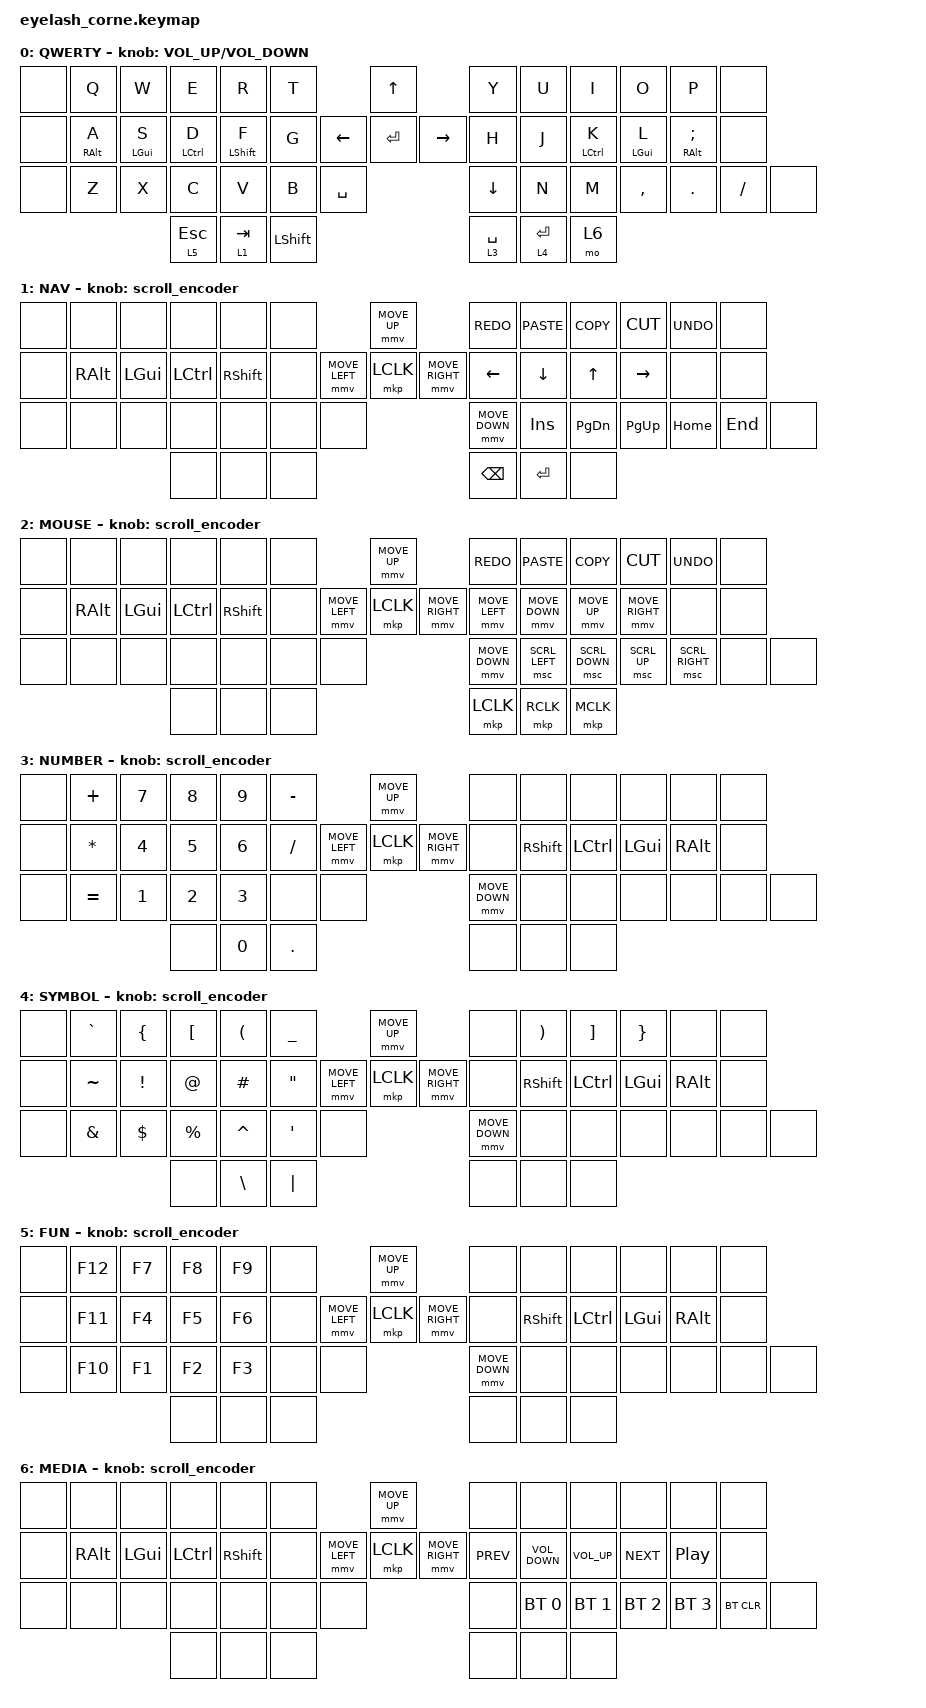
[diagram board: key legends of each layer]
#define ZMK_POINTING_DEFAULT_MOVE_VAL 1200  // 600
#define ZMK_POINTING_DEFAULT_SCRL_VAL 10   // 10

#include <input/processors.dtsi>
#include <zephyr/dt-bindings/input/input-event-codes.h>
#include <behaviors.dtsi>
#include <dt-bindings/zmk/bt.h>
#include <dt-bindings/zmk/ext_power.h>
#include <dt-bindings/zmk/keys.h>
#include <dt-bindings/zmk/outputs.h>
#include <dt-bindings/zmk/pointing.h>
#include <dt-bindings/zmk/rgb.h>


&mmv_input_listener { input-processors = <&zip_xy_scaler 2 1>; };

&msc_input_listener { input-processors = <&zip_scroll_scaler 2 1>; };

&msc {
    x-input-code = <INPUT_REL_HWHEEL>;
    y-input-code = <INPUT_REL_WHEEL>;
    time-to-max-speed-ms = <300>;
    acceleration-exponent = <0>;
};

&mmv {
    time-to-max-speed-ms = <500>;
    acceleration-exponent = <1>;
    trigger-period-ms = <16>;
};


/ {
    behaviors {
        td0: td0 {
            compatible = "zmk,behavior-tap-dance";
            display-name = "Shift/Caps Lock Tap Dance";
            #binding-cells = <0>;
            bindings = <&kp RSHFT>, <&kp CAPS>;
        };
        lt: layer_tap {
            compatible = "zmk,behavior-hold-tap";
            #binding-cells = <2>;
            flavor = "hold-preferred";
            tapping-term-ms = <200>;
            quick-tap-ms = <175>;
            bindings = <&mo>, <&kp>;
            display-name = "Layer-Tap";
            hold-while-undecided;
        };
        hml: home_row_mod_left {
            compatible = "zmk,behavior-hold-tap";
            #binding-cells = <2>;
            flavor = "balanced";
            require-prior-idle-ms = <150>;
            tapping-term-ms = <280>;
            quick-tap-ms = <175>;
            bindings = <&kp>, <&kp>;
            hold-trigger-key-positions = <Y U I O P H K L SEMI N M COMMA DOT FSLH SPACE ENTER LCLK RCLK MCLK TAB>; // List of keys on the right side of the keyboard
            hold-trigger-on-release;
        };
        hmr: home_row_mod_right {
            compatible = "zmk,behavior-hold-tap";
            #binding-cells = <2>;
            flavor = "balanced";
            require-prior-idle-ms = <150>;
            tapping-term-ms = <280>;
            quick-tap-ms = <175>;
            bindings = <&kp>, <&kp>;
            hold-trigger-key-positions = <Q W E R T A S D F G Z X C V B TAB BSPC N0 DOT BSLH PIPE>; // List of keys on the left side of the keyboard
            hold-trigger-on-release;
        };
    };

    rgb_encoder: rgb_encoder {
        compatible = "zmk,behavior-sensor-rotate";
        #sensor-binding-cells = <0>;
        bindings = <&rgb_ug RGB_BRI>, <&rgb_ug RGB_BRD>;
    };

    scroll_encoder: scroll_encoder {
        compatible = "zmk,behavior-sensor-rotate";
        #sensor-binding-cells = <0>;
        bindings = <&msc SCRL_DOWN>, <&msc SCRL_UP>;
        tap-ms = <100>;
    };
    combos {
        compatible = "zmk,combos";
        combo_esc {
            timeout-ms = <40>;
            key-positions = <23 24>;
            bindings = <&kp ESC>;
            require-prior-idle-ms = <150>;
        };
        combo_shift {
            timeout-ms = <40>;
            key-positions = <17 23>;
            bindings = <&kp LEFT_SHIFT>;
            require-prior-idle-ms = <150>;
        };
    };

        
    keymap {
        compatible = "zmk,keymap";

        default_layer {
            display-name = "QWERTY";
            bindings = <
&none    &kp Q       &kp W      &kp E       &kp R            &kp T                              &kp UP                &kp Y        &kp U  &kp I      &kp O    &kp P     &none
&none    &hml RALT A   &hml LGUI S  &hml LCTRL D  &hml LSHIFT F &kp G                    &kp LEFT  &kp ENTER  &kp RIGHT  &kp H        &kp J  &hmr LCTRL K      &hmr LGUI L    &hmr RALT SEMI  &none 
&none    &kp Z       &kp X      &kp C       &kp V            &kp B       &kp SPACE              &kp DOWN              &kp N        &kp M  &kp COMMA  &kp DOT  &kp FSLH  &none
                             &lt 5 ESC  &lt 1 TAB   &kp LSHIFT                                    &lt 3 SPACE  &lt 4 ENTER  &mo 6
            >;
            sensor-bindings = <&inc_dec_kp C_VOLUME_UP C_VOLUME_DOWN>;
        };

        1_nav_layer {
            display-name = "NAV";
            bindings = <
&none  &none   &none    &none   &none        &none                                  &mmv MOVE_UP                     &kp K_REDO   &kp K_PASTE      &kp K_COPY      &kp K_CUT           &kp K_UNDO    &none
&none  &kp RALT   &kp LGUI    &kp LCTRL  &kp RSHFT  &none                  &mmv MOVE_LEFT  &mkp LCLK       &mmv MOVE_RIGHT  &kp LEFT     &kp DOWN         &kp UP          &kp RIGHT        &none  &none
&none  &none   &none    &none   &none        &none    &none                         &mmv MOVE_DOWN                   &kp INS         &kp PG_DN       &kp PG_UP        &kp HOME &kp END   &none
                                         &none        &none        &none                                        &kp BSPC          &kp ENTER         &none
            >;
            sensor-bindings = <&scroll_encoder>;
        };

        2_mouse_layer {
            display-name = "MOUSE";
            bindings = <
&none  &none   &none    &none   &none        &none                                  &mmv MOVE_UP                     &kp K_REDO         &kp K_PASTE      &kp K_COPY      &kp K_CUT           &kp K_UNDO &none
&none  &kp RALT   &kp LGUI    &kp LCTRL  &kp RSHFT  &none                  &mmv MOVE_LEFT  &mkp LCLK &mmv MOVE_RIGHT  &mmv MOVE_LEFT     &mmv MOVE_DOWN   &mmv MOVE_UP    &mmv MOVE_RIGHT     &none   &none
&none  &none   &none    &none   &none        &none    &none                        &mmv MOVE_DOWN                   &msc SCRL_LEFT     &msc SCRL_DOWN   &msc SCRL_UP    &msc SCRL_RIGHT     &none   &none
                                         &none        &none        &none                                          &mkp LCLK          &mkp RCLK        &mkp MCLK 
            >;
            sensor-bindings = <&scroll_encoder>;
        };

        3_number_layer {
            display-name = "NUMBER";
            bindings = <
&none  &kp PLUS   &kp N7      &kp N8    &kp N9   &kp MINUS                                  &mmv MOVE_UP                  &none        &none           &none        &none      &none     &none
&none  &kp ASTRK   &kp N4      &kp N5    &kp N6  &kp FSLH             &mmv MOVE_LEFT  &mkp LCLK       &mmv MOVE_RIGHT     &none        &kp RSHFT  &kp LCTRL    &kp LGUI   &kp RALT  &none 
&none  &kp EQUAL   &kp N1      &kp N2    &kp N3  &none       &none                            &mmv MOVE_DOWN                   &none        &none           &none  &none  &none   &none 
                                &none      &kp N0      &kp DOT                                                            &none        &none           &none
            >;
            sensor-bindings = <&scroll_encoder>;
        };

        4_symbol_layer {
            display-name = "SYMBOL";
            bindings = <
&none  &kp GRAVE   &kp LBRC     &kp LBKT   &kp LPAR  &kp UNDER                                   &mmv MOVE_UP                     &none        &kp RPAR      &kp RBKT          &kp RBRC      &none     &none
&none  &kp TILDE   &kp EXCL     &kp AT     &kp HASH  &kp DQT                 &mmv MOVE_LEFT  &mkp LCLK       &mmv MOVE_RIGHT    &none    &kp RSHFT  &kp LCTRL    &kp LGUI   &kp RALT  &none  
&none  &kp AMPS    &kp DLLR     &kp PRCNT  &kp CARET &kp SQT   &none                               &mmv MOVE_DOWN                  &none        &none     &none  &none  &none   &none 
                                &none   &kp BSLH  &kp PIPE                                                              &none        &none      &none
            >;
            sensor-bindings = <&scroll_encoder>;
        };

        5_fun_layer {
            display-name = "FUN";
            bindings = <
&none  &kp F12   &kp F7      &kp F8    &kp F9  &none                                  &mmv MOVE_UP                     &none        &none      &none        &none      &none     &none
&none  &kp F11   &kp F4      &kp F5    &kp F6  &none             &mmv MOVE_LEFT  &mkp LCLK       &mmv MOVE_RIGHT        &none       &kp RSHFT  &kp LCTRL    &kp LGUI   &kp RALT  &none 
&none  &kp F10   &kp F1      &kp F2    &kp F3  &none  &none                                 &mmv MOVE_DOWN                   &none       &none     &none  &none  &none   &none 
                                &none      &none      &none                                                              &none        &none      &none
            >;
            sensor-bindings = <&scroll_encoder>;
        };

        6_media_layer {
            display-name = "MEDIA";
            bindings = <
&none  &none   &none    &none   &none        &none                                  &mmv MOVE_UP                     &none         &none      &none      &none     &none  &none
&none  &kp RALT   &kp LGUI    &kp LCTRL  &kp RSHFT  &none                  &mmv MOVE_LEFT  &mkp LCLK       &mmv MOVE_RIGHT  &kp C_PREV      &kp C_VOLUME_DOWN   &kp C_VOLUME_UP    &kp C_NEXT     &kp C_PLAY_PAUSE  &none
&none  &none   &none    &none   &none        &none    &none                         &none   &bt  BT_SEL 0                    &bt BT_SEL 1      &bt BT_SEL 2   &bt BT_SEL 3    &bt BT_CLR      &none  
                                &none      &none      &none                                                              &none        &none      &none
            >;
            sensor-bindings = <&scroll_encoder>;
        };
    };
};
